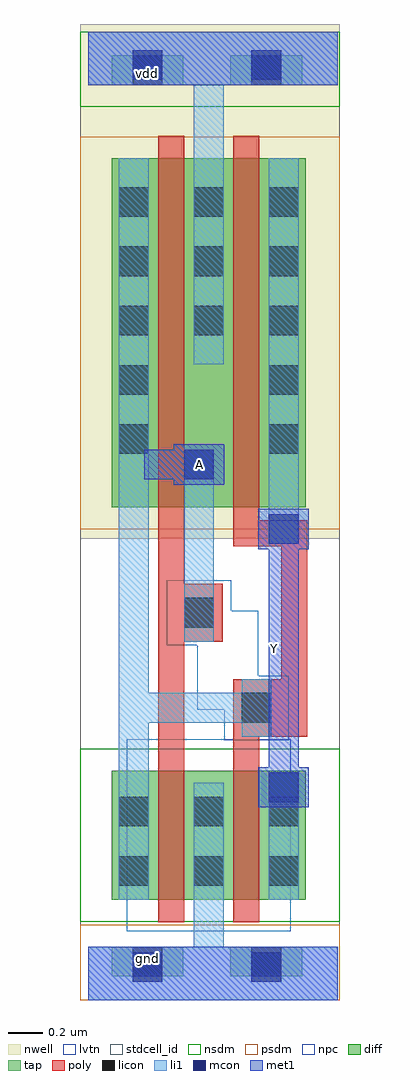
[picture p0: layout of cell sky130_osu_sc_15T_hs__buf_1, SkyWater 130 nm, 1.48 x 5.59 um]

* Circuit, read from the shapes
.subckt sky130_osu_sc_15T_hs__buf_1 A Y gnd vdd
XM1 gnd A n1 gnd sky130_fd_pr__nfet_01v8_lvt w=0.74 l=0.15
XM2 Y n1 gnd gnd sky130_fd_pr__nfet_01v8_lvt w=0.74 l=0.15
XM3 vdd A n1 vdd sky130_fd_pr__pfet_01v8 w=2 l=0.15
XM4 Y n1 vdd vdd sky130_fd_pr__pfet_01v8 w=2 l=0.15
.ends

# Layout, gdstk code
import gdstk
lib = gdstk.Library(unit=1e-6, precision=1e-09)
def R(c, l, rs):  # rectangles x0, y0, x1, y1
    for r in rs: c.add(gdstk.rectangle(r[:2], r[2:], *l))
def A(c, l, x, y, w, h, nx, ny, dx, dy):  # array of equal rectangles
    R(c, l, [(x+i*dx, y+j*dy, x+i*dx+w, y+j*dy+h) for i in range(nx) for j in range(ny)])
nwell = (64, 20)
diff = (65, 20)
tap = (65, 44)
poly = (66, 20)
licon = (66, 44)
li1 = (67, 20)
mcon = (67, 44)
met1 = (68, 20)
stdcell_id = (81, 4)
nsdm = (93, 44)
psdm = (94, 20)
npc = (95, 20)
lvtn = (125, 44)

sky130_osu_sc_15t_hs__bu = lib.new_cell('sky130_osu_sc_15T_hs__buf_1')
R(sky130_osu_sc_15t_hs__bu, nwell, [(-0.045,2.645,1.44,5.595)])
R(sky130_osu_sc_15t_hs__bu, diff, [(0.135,0.575,1.245,1.315), (0.135,2.825,1.245,4.825)])
R(sky130_osu_sc_15t_hs__bu, tap, [(0.135,0.135,0.545,0.305), (0.815,0.135,1.225,0.305), (0.135,5.245,0.545,5.415), (0.815,5.245,1.225,5.415)])
R(sky130_osu_sc_15t_hs__bu, poly, [(0.4,0.445,0.55,2.055), (0.83,0.445,0.98,1.51), (0.83,1.51,1.255,1.84), (1.105,1.84,1.255,2.6), (0.4,2.055,0.77,2.385), (0.4,2.385,0.55,4.955), (0.83,2.6,1.255,2.75), (0.83,2.75,0.98,4.955)])
A(sky130_osu_sc_15t_hs__bu, licon, 0.175, 0.655, 0.17, 0.17, 3, 2, 0.43, 0.34)
A(sky130_osu_sc_15t_hs__bu, licon, 0.175, 3.81, 0.17, 0.17, 3, 3, 0.43, 0.34)
R(sky130_osu_sc_15t_hs__bu, licon, [(0.255,0.135,0.425,0.305), (0.935,0.135,1.105,0.305), (0.88,1.59,1.05,1.76), (0.55,2.135,0.72,2.305), (0.175,3.13,0.345,3.3), (1.035,3.13,1.205,3.3), (0.175,3.47,0.345,3.64), (1.035,3.47,1.205,3.64), (0.255,5.245,0.425,5.415), (0.935,5.245,1.105,5.415)])
R(sky130_osu_sc_15t_hs__bu, li1, [(0,0,1.43,0.305), (0.605,0.305,0.775,1.245), (0.175,0.575,0.345,1.59), (1.035,0.575,1.205,1.305), (0.88,1.51,1.05,1.59), (0.175,1.59,1.05,1.76), (0.175,1.76,0.345,4.825), (0.88,1.76,1.05,1.84), (0.55,2.055,0.72,3.155), (1.035,2.615,1.205,4.825), (0.605,3.645,0.775,5.245), (0,5.245,1.43,5.55)])
R(sky130_osu_sc_15t_hs__bu, mcon, [(0.255,0.105,0.425,0.275), (0.935,0.105,1.105,0.275), (1.035,1.135,1.205,1.305), (1.035,2.615,1.205,2.785), (0.55,2.985,0.72,3.155), (0.255,5.275,0.425,5.445), (0.935,5.275,1.105,5.445)])
R(sky130_osu_sc_15t_hs__bu, met1, [(0,0,1.43,0.305), (0.975,1.105,1.265,1.335), (1.035,1.335,1.205,2.585), (0.975,2.585,1.265,2.815), (0.49,2.955,0.78,2.985), (0.32,2.985,0.78,3.155), (0.49,3.155,0.78,3.185), (0,5.245,1.43,5.55)])
R(sky130_osu_sc_15t_hs__bu, stdcell_id, [(-0.045,0,1.44,5.55)])
R(sky130_osu_sc_15t_hs__bu, nsdm, [(-0.045,0.45,1.44,1.44), (-0.045,5.12,1.44,5.55)])
R(sky130_osu_sc_15t_hs__bu, psdm, [(-0.045,0,1.44,0.43), (-0.045,2.7,1.44,4.95)])
R(sky130_osu_sc_15t_hs__bu, npc, [(0.78,1.49,1.15,1.665), (0.625,1.665,1.15,1.86), (0.625,1.86,0.975,2.035), (0.45,2.035,0.975,2.23), (0.45,2.23,0.82,2.405)])
R(sky130_osu_sc_15t_hs__bu, lvtn, [(0.22,0.395,1.16,1.495)])
sky130_osu_sc_15t_hs__bu.add(gdstk.Label('gnd', (0.34,0.24), layer=68, texttype=16))
sky130_osu_sc_15t_hs__bu.add(gdstk.Label('vdd', (0.34,5.31), layer=68, texttype=16))
sky130_osu_sc_15t_hs__bu.add(gdstk.Label('Y', (1.065,2.015), layer=68, texttype=5))
sky130_osu_sc_15t_hs__bu.add(gdstk.Label('A', (0.635,3.07), layer=68, texttype=5))

lib.write_gds('sky130_osu_sc_15T_hs__buf_1.gds')
